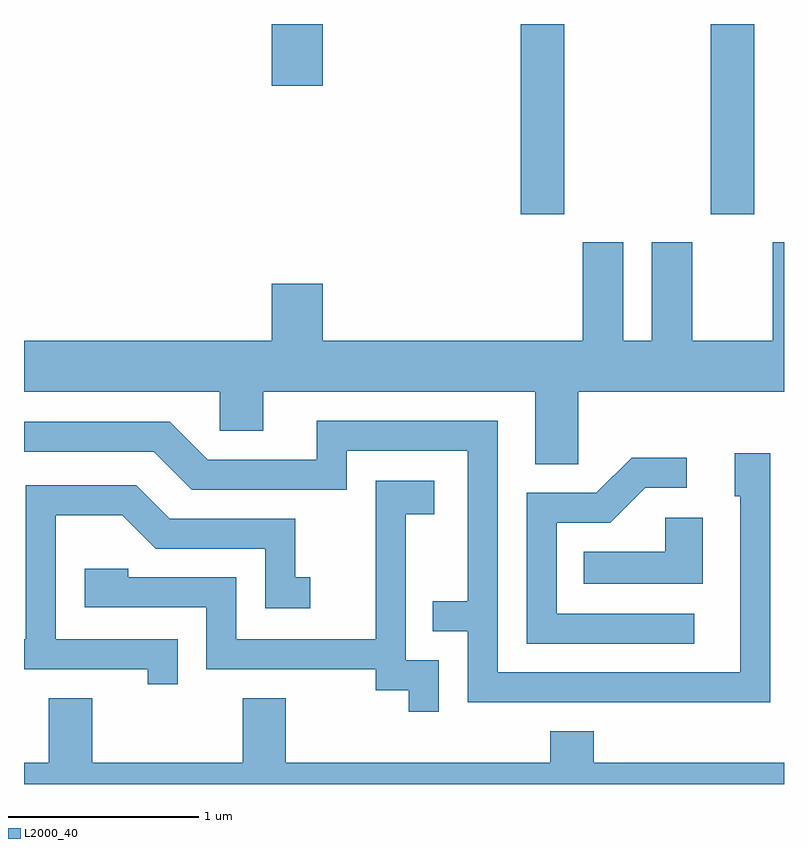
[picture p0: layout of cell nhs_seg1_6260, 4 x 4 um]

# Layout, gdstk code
import gdstk
lib = gdstk.Library(unit=1e-6, precision=1e-09)
def R(c, l, rs):  # rectangles x0, y0, x1, y1
    for r in rs: c.add(gdstk.rectangle(r[:2], r[2:], *l))
def P(c, l, *ps):  # polygons
    for p in ps: c.add(gdstk.Polygon(p, *l))
L2000_40 = (2000, 40)

nhs_seg1_6260 = lib.new_cell('nhs_seg1_6260')
R(nhs_seg1_6260, L2000_40, [(376.226,922.711,376.454,923.712), (377.226,922.711,377.454,923.712), (374.916,923.386,375.184,923.712)])
P(nhs_seg1_6260, L2000_40, [(376.529,921.776),(377.611,921.776),(377.611,922.564),(377.551,922.564),(377.551,922.044),(377.129,922.044),(377.129,922.564),(376.916,922.564),(376.916,922.044),(376.764,922.044),(376.764,922.564),(376.551,922.564),(376.551,922.044),(375.184,922.044),(375.184,922.344),(374.916,922.344),(374.916,922.044),(373.611,922.044),(373.611,921.776),(374.641,921.776),(374.641,921.571),(374.869,921.571),(374.869,921.776),(376.301,921.776),(376.301,921.396),(376.529,921.396)],
  [(377.539,921.454),(377.351,921.454),(377.351,921.226),(377.381,921.226),(377.381,920.299),(376.104,920.299),(376.104,921.624),(375.151,921.624),(375.151,921.419),(374.577,921.419),(374.377,921.619),(373.611,921.619),(373.611,921.461),(374.294,921.461),(374.494,921.261),(375.309,921.261),(375.309,921.466),(375.946,921.466),(375.946,920.674),(375.763,920.674),(375.763,920.516),(375.946,920.516),(375.946,920.141),(377.539,920.141)],
  [(377.138,920.609),(376.414,920.609),(376.414,921.086),(376.697,921.086),(376.882,921.271),(377.098,921.271),(377.098,921.429),(376.809,921.429),(376.624,921.244),(376.256,921.244),(376.256,920.451),(377.138,920.451)],
  [(375.794,920.364),(375.619,920.364),(375.619,921.131),(375.769,921.131),(375.769,921.309),(375.461,921.309),(375.461,920.474),(374.729,920.474),(374.729,920.799),(374.159,920.799),(374.159,920.844),(373.931,920.844),(373.931,920.641),(374.571,920.641),(374.571,920.316),(375.461,920.316),(375.461,920.206),(375.636,920.206),(375.636,920.093),(375.794,920.093)],
  [(374.419,920.474),(373.779,920.474),(373.779,921.126),(374.129,921.126),(374.304,920.951),(374.881,920.951),(374.881,920.636),(375.118,920.636),(375.118,920.799),(375.039,920.799),(375.039,921.109),(374.377,921.109),(374.202,921.284),(373.621,921.284),(373.621,920.474),(373.611,920.474),(373.611,920.316),(374.261,920.316),(374.261,920.238),(374.419,920.238)],
  [(377.184,921.114),(376.986,921.114),(376.986,920.934),(376.558,920.934),(376.558,920.766),(377.184,920.766)],
  [(377.611,919.824),(376.609,919.824),(376.609,919.989),(376.381,919.989),(376.381,919.824),(374.989,919.824),(374.989,920.164),(374.761,920.164),(374.761,919.824),(373.969,919.824),(373.969,920.164),(373.741,920.164),(373.741,919.824),(373.611,919.824),(373.611,919.712),(377.611,919.712)])

lib.write_gds('nhs_seg1_6260.gds')
